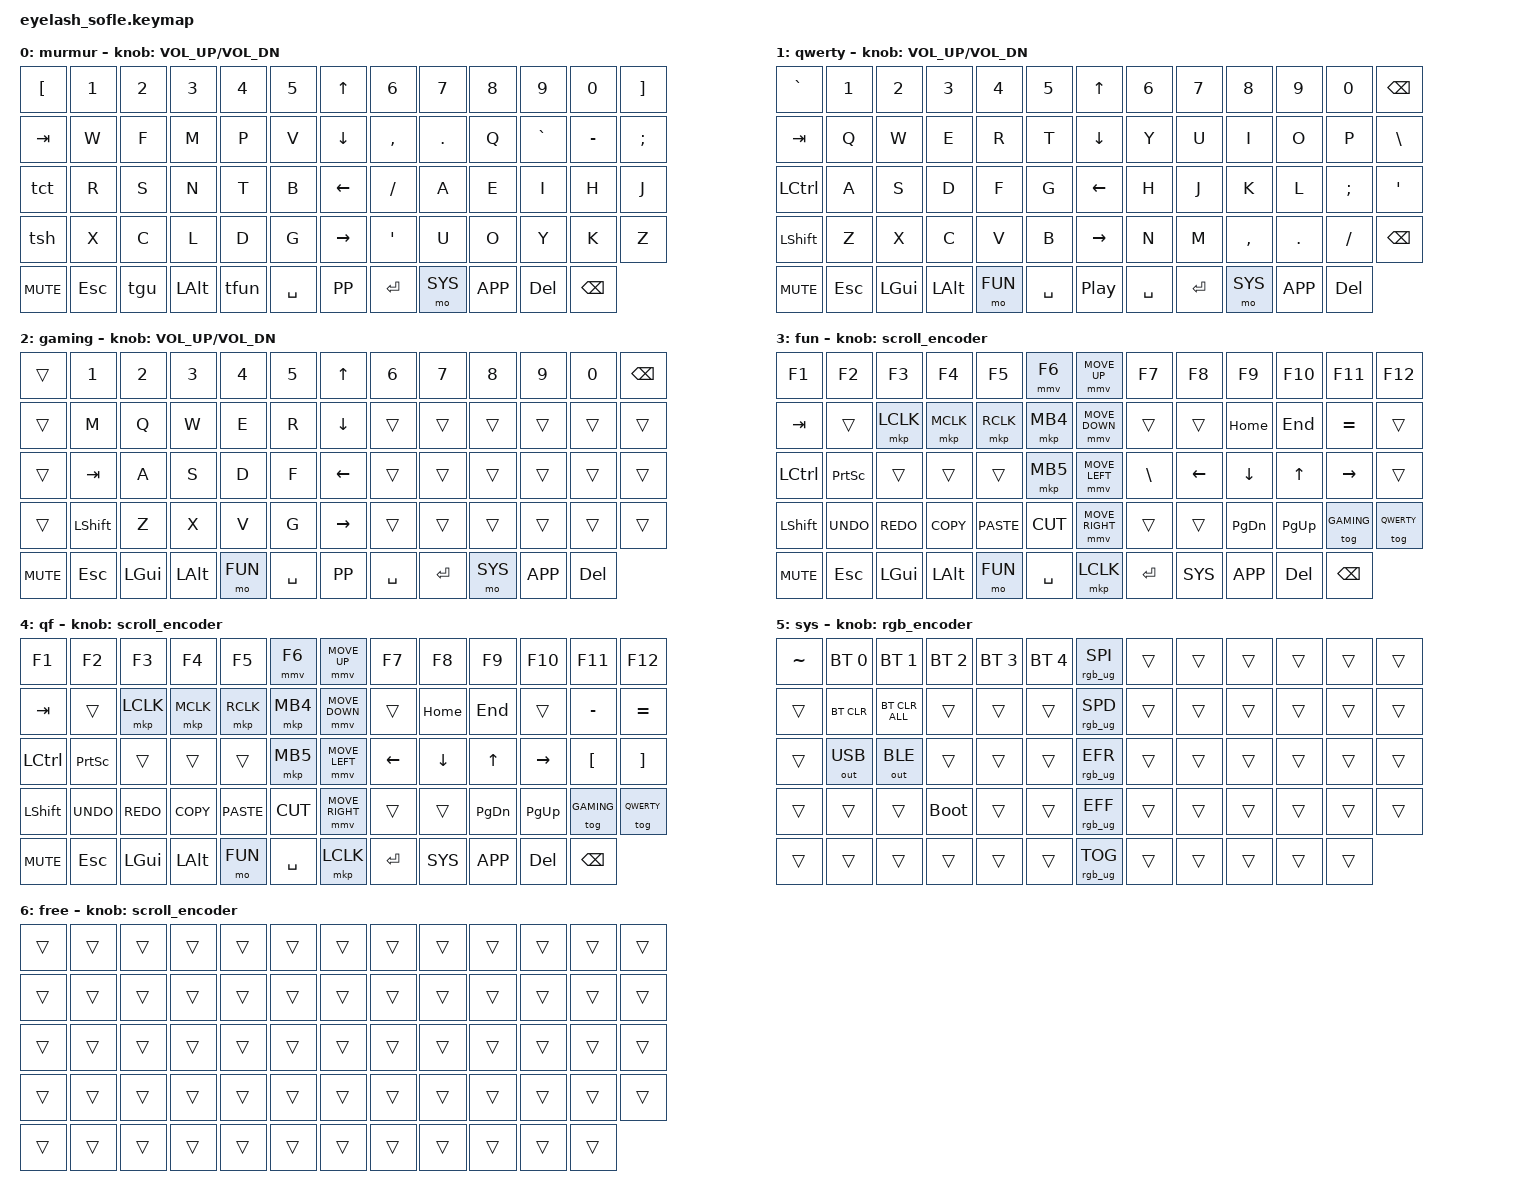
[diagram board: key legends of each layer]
#define ZMK_POINTING_DEFAULT_MOVE_VAL 1200  // 600
#define ZMK_POINTING_DEFAULT_SCRL_VAL 25   // 10

#include <input/processors.dtsi>
#include <zephyr/dt-bindings/input/input-event-codes.h>
#include <behaviors.dtsi>
#include <dt-bindings/zmk/bt.h>
#include <dt-bindings/zmk/keys.h>
#include <dt-bindings/zmk/outputs.h>
#include <dt-bindings/zmk/pointing.h>
#include <dt-bindings/zmk/rgb.h>

#define MURMUR 0
#define QWERTY 1
#define GAMING 2
#define FUN 3
#define QF 4
#define SYS 5
#define FREE 6

&mmv_input_listener { input-processors = <&zip_xy_scaler 2 1>; };

&msc_input_listener { input-processors = <&zip_scroll_scaler 2 1>; };

&msc {
    acceleration-exponent = <1>;      // 0
    time-to-max-speed-ms = <100>;       // 300
    delay-ms = <0>;                   // 0
};

&mmv {
    time-to-max-speed-ms = <500>;
    acceleration-exponent = <1>;
    trigger-period-ms = <16>;
};

&soft_off { hold-time-ms = <2000>; };

/ {
    scroll_encoder: scroll_encoder {
        compatible = "zmk,behavior-sensor-rotate";
        #sensor-binding-cells = <0>;
        bindings = <&msc SCRL_DOWN>, <&msc SCRL_UP>;

        tap-ms = <100>;
    };

    behaviors {
      tsh: tap_shift {
        compatible = "zmk,behavior-tap-dance";
        #binding-cells = <0>;
        tapping-term-ms = <200>;
        bindings = <&kp LSHFT>, <&kt LSHFT>;
      };

      tct: tap_control {
        compatible = "zmk,behavior-tap-dance";
        #binding-cells = <0>;
        tapping-term-ms = <200>;
        bindings = <&kp LCTRL>, <&kt LCTRL>;
      };

      tgu: tap_gui {
        compatible = "zmk,behavior-tap-dance";
        #binding-cells = <0>;
        tapping-term-ms = <200>;
        bindings = <&kp LGUI>, <&kt LGUI>;
      };

      tfun: tap_fun {
        compatible = "zmk,behavior-tap-dance";
        #binding-cells = <0>;
        tapping-term-ms = <200>;
        bindings = <&mo FUN>, <&sl FUN>;
      };

      rgb_encoder: rgb_encoder {
        compatible = "zmk,behavior-sensor-rotate";
        #sensor-binding-cells = <0>;
        bindings = <&rgb_ug RGB_BRI>, <&rgb_ug RGB_BRD>;
      };
    };

    combos {
        compatible = "zmk,combos";

        softoff {
            bindings = <&soft_off>;
            key-positions = <14 28 40>;
        };
    };

    macros {
        SHIFT_MCLK: SHIFT_MCLK {
            compatible = "zmk,behavior-macro";
            #binding-cells = <0>;
            bindings =
                <&macro_press>,
                <&kp LEFT_SHIFT>,
                <&macro_press>,
                <&mkp MB3>,
                <&macro_pause_for_release>,
                <&macro_release>,
                <&kp LEFT_SHIFT &mkp MB3>;

            label = "SHIFT_MCLK";
        };
    };

    conditional_layers {
      compatible = "zmk,conditional-layers";
      adjust_layer {
        if-layers = <QWERTY FUN>;
        then-layer = <QF>;
      };
    };

    keymap {
        compatible = "zmk,keymap";

        murmur {
            bindings = <
&kp LBKT    &kp N1   &kp N2    &kp N3    &kp N4   &kp N5         &kp UP         &kp N6     &kp N7   &kp N8     &kp N9     &kp N0     &kp RBKT
&kp TAB     &kp W    &kp F     &kp M     &kp P    &kp V          &kp DOWN       &kp COMMA  &kp DOT  &kp Q      &kp GRAVE  &kp MINUS  &kp SEMI
&tct        &kp R    &kp S     &kp N     &kp T    &kp B          &kp LEFT       &kp FSLH   &kp A    &kp E      &kp I      &kp H      &kp J
&tsh        &kp X    &kp C     &kp L     &kp D    &kp G          &kp RIGHT      &kp APOS   &kp U    &kp O      &kp Y      &kp K      &kp Z
&kp K_MUTE  &kp ESC  &tgu      &kp LALT  &tfun    &kp SPACE      &kp K_PP       &kp RET    &mo SYS  &kp K_APP  &kp DEL    &kp BSPC
            >;

            sensor-bindings = <&inc_dec_kp K_VOLUME_UP K_VOL_DN>;
            display-name = "murmur";
        };

        qwerty {
            bindings = <
&kp GRAVE   &kp N1   &kp N2    &kp N3    &kp N4   &kp N5         &kp UP         &kp N6     &kp N7   &kp N8     &kp N9     &kp N0    &kp BSPC
&kp TAB     &kp Q    &kp W     &kp E     &kp R    &kp T          &kp DOWN       &kp Y      &kp U    &kp I      &kp O      &kp P     &kp BSLH
&kp LCTRL   &kp A    &kp S     &kp D     &kp F    &kp G          &kp LEFT       &kp H      &kp J    &kp K      &kp L      &kp SEMI  &kp APOS
&kp LSHFT   &kp Z    &kp X     &kp C     &kp V    &kp B          &kp RIGHT      &kp N      &kp M    &kp COMMA  &kp DOT    &kp FSLH  &kp BSPC
&kp C_MUTE  &kp ESC  &kp LGUI  &kp LALT  &mo FUN  &kp SPACE      &kp C_PP       &kp SPACE  &kp RET  &mo SYS    &kp K_APP  &kp DEL
            >;

            sensor-bindings = <&inc_dec_kp C_VOLUME_UP C_VOL_DN>;
            display-name = "qwerty";
        };

        gaming {
            bindings = <
&trans  &kp N1     &kp N2    &kp N3    &kp N4   &kp N5             &kp UP         &kp N6     &kp N7   &kp N8     &kp N9     &kp N0   &kp BSPC
&trans  &kp M      &kp Q     &kp W     &kp E    &kp R              &kp DOWN       &trans     &trans   &trans     &trans     &trans   &trans
&trans  &kp TAB    &kp A     &kp S     &kp D    &kp F              &kp LEFT       &trans     &trans   &trans     &trans     &trans   &trans
&trans  &kp LSHFT  &kp Z     &kp X     &kp V    &kp G              &kp RIGHT      &trans     &trans   &trans     &trans     &trans   &trans
&kp K_MUTE  &kp ESC    &kp LGUI  &kp LALT  &mo FUN  &kp SPACE      &kp K_PP       &kp SPACE  &kp RET  &mo SYS    &kp K_APP  &kp DEL
            >;

            sensor-bindings = <&inc_dec_kp K_VOLUME_UP K_VOL_DN>;
            display-name = "gaming";
        };

        fun {
            bindings = <
&kp F1      &kp F2      &kp F3      &kp F4      &kp F5       &mmv F6        &mmv MOVE_UP         &kp F7    &kp F8    &kp F9       &kp F10    &kp F11      &kp F12
&kp TAB     &trans      &mkp LCLK   &mkp MCLK   &mkp RCLK    &mkp MB4       &mmv MOVE_DOWN       &trans    &trans    &kp HOME     &kp END    &kp EQUAL    &trans
&kp LCTRL   &kp PSCRN   &trans      &trans      &trans       &mkp MB5       &mmv MOVE_LEFT       &kp BSLH  &kp LEFT  &kp DOWN     &kp UP     &kp RIGHT    &trans
&kp LSHFT   &kp K_UNDO  &kp K_REDO  &kp K_COPY  &kp K_PASTE  &kp K_CUT      &mmv MOVE_RIGHT      &trans    &trans    &kp PG_DN    &kp PG_UP  &tog GAMING  &tog QWERTY
&kp K_MUTE  &kp ESC     &kp LGUI    &kp LALT    &mo FUN      &kp SPACE      &mkp LCLK            &kp RET   &kp SYS   &kp K_APP    &kp DEL    &kp BSPC
            >;

            display-name = "fun";
            sensor-bindings = <&scroll_encoder>;
        };

        qf {
            bindings = <
&kp F1      &kp F2      &kp F3      &kp F4      &kp F5       &mmv F6        &mmv MOVE_UP         &kp F7   &kp F8    &kp F9       &kp F10    &kp F11      &kp F12
&kp TAB     &trans      &mkp LCLK   &mkp MCLK   &mkp RCLK    &mkp MB4       &mmv MOVE_DOWN       &trans   &kp HOME  &kp END      &trans     &kp MINUS    &kp EQUAL
&kp LCTRL   &kp PSCRN   &trans      &trans      &trans       &mkp MB5       &mmv MOVE_LEFT       &kp LEFT &kp DOWN  &kp UP       &kp RIGHT  &kp LBKT     &kp RBKT
&kp LSHFT   &kp K_UNDO  &kp K_REDO  &kp K_COPY  &kp K_PASTE  &kp K_CUT      &mmv MOVE_RIGHT      &trans   &trans    &kp PG_DN  &kp PG_UP  &tog GAMING  &tog QWERTY
&kp K_MUTE  &kp ESC     &kp LGUI    &kp LALT    &mo FUN      &kp SPACE      &mkp LCLK            &kp RET  &kp SYS   &kp K_APP    &kp DEL    &kp BSPC
            >;

            display-name = "qf";
            sensor-bindings = <&scroll_encoder>;
        };

        sys {
            bindings = <
&kp TILDE  &bt BT_SEL 0  &bt BT_SEL 1    &bt BT_SEL 2  &bt BT_SEL 3  &bt BT_SEL 4      &rgb_ug RGB_SPI      &trans  &trans  &trans  &trans  &trans  &trans
&trans     &bt BT_CLR    &bt BT_CLR_ALL  &trans        &trans        &trans            &rgb_ug RGB_SPD      &trans  &trans  &trans  &trans  &trans  &trans
&trans     &out OUT_USB  &out OUT_BLE    &trans        &trans        &trans            &rgb_ug RGB_EFR      &trans  &trans  &trans  &trans  &trans  &trans
&trans     &trans        &trans          &bootloader   &trans        &trans            &rgb_ug RGB_EFF      &trans  &trans  &trans  &trans  &trans  &trans
&trans     &trans        &trans          &trans        &trans        &trans            &rgb_ug RGB_TOG      &trans  &trans  &trans  &trans  &trans
            >;

            display-name = "sys";
            sensor-bindings = <&rgb_encoder>;
        };

        free {
            bindings = <
&trans  &trans  &trans  &trans  &trans  &trans      &trans      &trans  &trans  &trans  &trans  &trans  &trans
&trans  &trans  &trans  &trans  &trans  &trans      &trans      &trans  &trans  &trans  &trans  &trans  &trans
&trans  &trans  &trans  &trans  &trans  &trans      &trans      &trans  &trans  &trans  &trans  &trans  &trans
&trans  &trans  &trans  &trans  &trans  &trans      &trans      &trans  &trans  &trans  &trans  &trans  &trans
&trans  &trans  &trans  &trans  &trans  &trans      &trans      &trans  &trans  &trans  &trans  &trans
            >;

            display-name = "free";
            sensor-bindings = <&scroll_encoder>;
        };

    };
};
